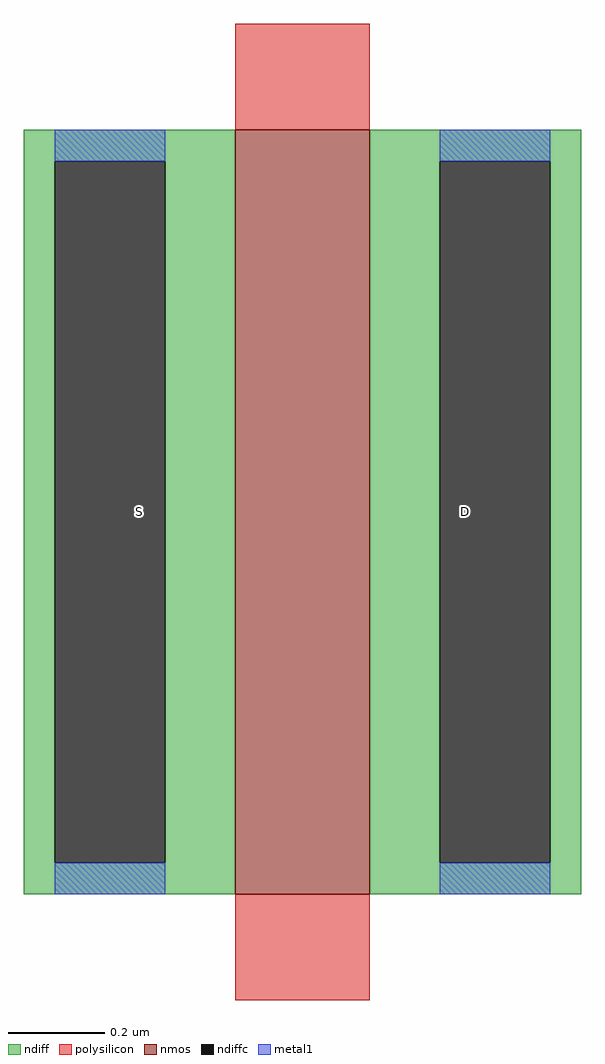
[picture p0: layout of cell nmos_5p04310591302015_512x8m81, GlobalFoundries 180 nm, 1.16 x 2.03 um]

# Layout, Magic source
magic
tech gf180mcuD
magscale 1 10
<< nmos >>
rect 0 0 56 318
<< ndiff >>
rect -88 305 0 318
rect -88 13 -75 305
rect -29 13 0 305
rect -88 0 0 13
rect 56 305 144 318
rect 56 13 85 305
rect 131 13 144 305
rect 56 0 144 13
<< ndiffc >>
rect -75 13 -29 305
rect 85 13 131 305
<< polysilicon >>
rect 0 318 56 362
rect 0 -44 56 0
<< metal1 >>
rect -75 305 -29 318
rect -75 0 -29 13
rect 85 305 131 318
rect 85 0 131 13
<< labels >>
flabel ndiffc -40 159 -40 159 0 FreeSans 93 0 0 0 S
flabel ndiffc 96 159 96 159 0 FreeSans 93 0 0 0 D
<< end >>
